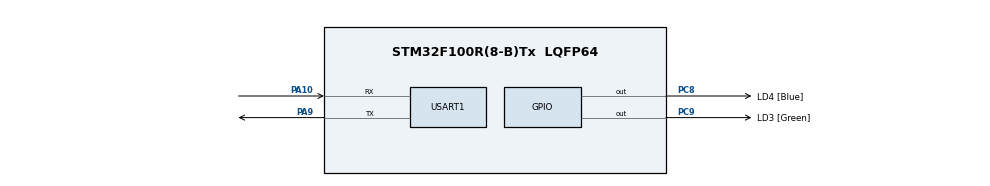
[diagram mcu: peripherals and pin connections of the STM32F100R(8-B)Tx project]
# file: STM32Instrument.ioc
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Mcu.Family=STM32F1
Mcu.Name=STM32F100R(8-B)Tx
Mcu.Package=LQFP64
NVIC.PriorityGroup=NVIC_PRIORITYGROUP_4
PA0-WKUP.Mode=SYS_WakeUp0
PA0-WKUP.Signal=SYS_WKUP
PA10.Mode=Asynchronous
PA10.Signal=USART1_RX
PA13.GPIO_Label=TMS_SWDIO
PA13.Mode=Serial_Wire
PA13.Signal=SYS_JTMS-SWDIO
PA14.GPIO_Label=TCK_SWCLK
PA14.Mode=Serial_Wire
PA14.Signal=SYS_JTCK-SWCLK
PA9.Mode=Asynchronous
PA9.Signal=USART1_TX
PC14-OSC32_IN.Mode=LSE-External-Oscillator
PC14-OSC32_IN.Signal=RCC_OSC32_IN
PC15-OSC32_OUT.Mode=LSE-External-Oscillator
PC15-OSC32_OUT.Signal=RCC_OSC32_OUT
PC8.GPIO_Label=LD4 [Blue]
PC8.Signal=GPIO_Output
PC9.GPIO_Label=LD3 [Green]
PC9.Signal=GPIO_Output
PD0-OSC_IN.Mode=HSE-External-Oscillator
PD0-OSC_IN.Signal=RCC_OSC_IN
PD1-OSC_OUT.Mode=HSE-External-Oscillator
PD1-OSC_OUT.Signal=RCC_OSC_OUT
ProjectManager.HeapSize=0x200
ProjectManager.StackSize=0x400
ProjectManager.TargetToolchain=CMake
RCC.APB1Freq_Value=8000000
RCC.APB2Freq_Value=8000000
USART1.VirtualMode=VM_ASYNC
board=STM32VLDISCOVERY

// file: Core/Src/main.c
/* USER CODE BEGIN Header */
/**
  ******************************************************************************
  * @file           : main.c
  * @brief          : Main program body
  ******************************************************************************
  * @attention
  *
  * Copyright (c) 2025 STMicroelectronics.
  * All rights reserved.
  *
  * This software is licensed under terms that can be found in the LICENSE file
  * in the root directory of this software component.
  * If no LICENSE file comes with this software, it is provided AS-IS.
  *
  ******************************************************************************
  */
/* USER CODE END Header */
#include "main.h"

/* USER CODE BEGIN Includes */
#include <stdint.h>
#include <stdbool.h>
#include <string.h>
#include "instrument_protocol_reader.h"
#include "instrument_protocol_builder.h"
#include "cff.h"
/* USER CODE END Includes */

/* USER CODE BEGIN PD */
#define DEVICE_ID "STM32Instrument_001"
#define MAX_SAMPLES 100
#define BUFFER_SIZE 256

// Custom allocator memory pool sizes - reduced for STM32F100 (8KB RAM)
#define VTABLE_POOL_SIZE 256
#define DATA_POOL_SIZE 1024
#define BUILDER_POOL_SIZE 128
#define HASH_POOL_SIZE 256
#define FRAME_POOL_SIZE 128
#define USER_POOL_SIZE 256
#define PATCH_POOL_SIZE 128
#define VECTOR_POOL_SIZE 256
/* USER CODE END PD */

UART_HandleTypeDef huart1;

/* USER CODE BEGIN PV */
uint8_t tx_buffer[BUFFER_SIZE];
uint8_t rx_buffer[BUFFER_SIZE];
uint16_t rx_index = 0;

// Custom Memory Allocator - Static Memory Pools
static uint8_t vtable_pool[VTABLE_POOL_SIZE];
static uint8_t data_pool[DATA_POOL_SIZE];
static uint8_t builder_pool[BUILDER_POOL_SIZE];
static uint8_t hash_pool[HASH_POOL_SIZE];
static uint8_t frame_pool[FRAME_POOL_SIZE];
static uint8_t user_pool[USER_POOL_SIZE];
static uint8_t patch_pool[PATCH_POOL_SIZE];
static uint8_t vector_pool[VECTOR_POOL_SIZE];

// Pool management structure
typedef struct {
    uint8_t *pool;
    size_t size;
    size_t used;
    const char *name;
} memory_pool_t;

static memory_pool_t pools[] = {
    [flatcc_builder_alloc_vs] = {vtable_pool, VTABLE_POOL_SIZE, 0, "vtable_stack"},
    [flatcc_builder_alloc_ds] = {data_pool, DATA_POOL_SIZE, 0, "data_stack"},
    [flatcc_builder_alloc_vb] = {builder_pool, BUILDER_POOL_SIZE, 0, "vtable_buffer"},
    [flatcc_builder_alloc_pl] = {patch_pool, PATCH_POOL_SIZE, 0, "patch_log"},
    [flatcc_builder_alloc_fs] = {frame_pool, FRAME_POOL_SIZE, 0, "frame_stack"},
    [flatcc_builder_alloc_ht] = {hash_pool, HASH_POOL_SIZE, 0, "hash_table"},
    [flatcc_builder_alloc_vd] = {vector_pool, VECTOR_POOL_SIZE, 0, "vtable_desc"},
    [flatcc_builder_alloc_us] = {user_pool, USER_POOL_SIZE, 0, "user_stack"}
};

// Custom Emitter - Simple Linear Buffer
typedef struct {
    uint8_t *buffer;
    size_t capacity;
    size_t front_pos;  // Position for negative offsets (grows backwards)
    size_t back_pos;   // Position for positive offsets (grows forwards)
    size_t total_used;
} custom_emitter_t;

static custom_emitter_t custom_emit_context;

// Instrument state
typedef struct {
    uint32_t measurements_per_second;
    uint32_t samples_per_measurement;
    bool configured;
    bool running;
    uint32_t sequence_number;
    flatcc_builder_t builder;
    uint32_t last_measurement_time;
    uint32_t measurement_interval_ms;
    cff_frame_builder_t cff_builder;
    uint8_t cff_frame_buffer[BUFFER_SIZE];
    cff_ring_buffer_t cff_ring_buffer;
    uint8_t cff_receive_buffer[BUFFER_SIZE * 2]; // Larger buffer for partial frames
} InstrumentState;

InstrumentState instrument_state = {0};
/* USER CODE END PV */

void SystemClock_Config(void);
static void MX_GPIO_Init(void);
static void MX_USART1_UART_Init(void);
/* USER CODE BEGIN PFP */
extern void initialise_monitor_handles(void);
int custom_allocator(void *alloc_context, flatcc_iovec_t *b, size_t request, int zero_fill, int alloc_type);
int custom_emitter(void *emit_context, const flatcc_iovec_t *iov, int iov_count, flatbuffers_soffset_t offset, size_t len);
void custom_emitter_init(custom_emitter_t *emitter, uint8_t *buffer, size_t capacity);
void custom_emitter_reset(custom_emitter_t *emitter);
void *custom_emitter_get_buffer(custom_emitter_t *emitter, size_t *size_out);
void print_memory_usage(void);
/* USER CODE END PFP */

/* USER CODE BEGIN 0 */

// Custom Memory Allocator Implementation
int custom_allocator(void *alloc_context, flatcc_iovec_t *b, size_t request, int zero_fill, int alloc_type) {
    (void)alloc_context; // Unused

    if (alloc_type >= FLATCC_BUILDER_ALLOC_BUFFER_COUNT) {
        printf("Error: Invalid alloc_type: %d\r\n", alloc_type);
        return -1;
    }

    memory_pool_t *pool = &pools[alloc_type];

    // Deallocate request
    if (request == 0) {
        if (b->iov_base) {
            pool->used = 0;
            b->iov_base = 0;
            b->iov_len = 0;
        }
        return 0;
    }

    // Ensure proper alignment (align to 8 bytes for safety)
    size_t aligned_request = (request + 7) & ~7;

    // Check if current allocation is sufficient
    if (b->iov_base && b->iov_len >= request) {
        // Current allocation is sufficient
        if (zero_fill && b->iov_len > request) {
            memset((uint8_t*)b->iov_base + request, 0, b->iov_len - request);
        }
        return 0;
    }

    // Need new allocation
    if (aligned_request > pool->size) {
        printf("Error: %s pool too small: need %u, have %u\r\n",
               pool->name, aligned_request, pool->size);
        return -1;
    }

    // Simple allocation strategy: reset pool and allocate from start
    pool->used = aligned_request;
    b->iov_base = pool->pool;
    b->iov_len = aligned_request;

    if (zero_fill) {
        memset(b->iov_base, 0, b->iov_len);
    }

    return 0;
}

// Custom Emitter Implementation
void custom_emitter_init(custom_emitter_t *emitter, uint8_t *buffer, size_t capacity) {
    emitter->buffer = buffer;
    emitter->capacity = capacity;
    emitter->front_pos = capacity / 2;  // Start in middle for bidirectional growth
    emitter->back_pos = capacity / 2;
    emitter->total_used = 0;
}

void custom_emitter_reset(custom_emitter_t *emitter) {
    emitter->front_pos = emitter->capacity / 2;
    emitter->back_pos = emitter->capacity / 2;
    emitter->total_used = 0;
}

void *custom_emitter_get_buffer(custom_emitter_t *emitter, size_t *size_out) {
    if (emitter->total_used == 0) {
        if (size_out) *size_out = 0;
        return NULL;
    }

    size_t buffer_size = emitter->back_pos - emitter->front_pos;
    if (size_out) {
        *size_out = buffer_size;
    }

    return emitter->buffer + emitter->front_pos;
}

int custom_emitter(void *emit_context, const flatcc_iovec_t *iov, int iov_count,
                   flatbuffers_soffset_t offset, size_t len) {
    custom_emitter_t *emitter = (custom_emitter_t*)emit_context;

    emitter->total_used += len;

    if (offset < 0) {
        // Negative offset: write towards front (backwards)
        if (emitter->front_pos < len) {
            printf("Error: Custom emitter front overflow\r\n");
            return -1;
        }

        emitter->front_pos -= len;
        uint8_t *write_pos = emitter->buffer + emitter->front_pos + len; // Start at end of allocated space

        // Copy data from iov vectors in reverse order, copying each vector's data backwards
        for (int i = iov_count - 1; i >= 0; i--) {
            write_pos -= iov[i].iov_len;
            memcpy(write_pos, iov[i].iov_base, iov[i].iov_len);
        }
    } else {
        // Positive offset: write towards back (forwards)
        if (emitter->back_pos + len > emitter->capacity) {
            printf("Error: Custom emitter back overflow\r\n");
            return -1;
        }

        uint8_t *write_pos = emitter->buffer + emitter->back_pos;

        // Copy data from iov vectors
        for (int i = 0; i < iov_count; i++) {
            memcpy(write_pos, iov[i].iov_base, iov[i].iov_len);
            write_pos += iov[i].iov_len;
        }

        emitter->back_pos += len;
    }

    return 0;
}

// Generate simulated measurement data
void generate_measurement_data(float* data, uint32_t sample_count) {
    static float counter = 0.0f; // Persistent counter across function calls

    for (uint32_t i = 0; i < sample_count; i++) {
        counter += 0.1f;
        data[i] = counter;
    }
}

// Get current timestamp in milliseconds (STM32 version)
uint64_t get_timestamp_ms() {
    return HAL_GetTick();
}

// Send a frame through UART
bool send_frame(void* buffer, size_t size) {
    HAL_StatusTypeDef status = HAL_UART_Transmit(&huart1, (uint8_t*)buffer, (uint16_t)size, 1000);
    if (status != HAL_OK) {
        printf("UART transmission failed\r\n");
        return false;
    }

    return true;
}

// Create and send a measurement message
bool send_measurement(InstrumentState* state) {
    // Generate measurement data
    float data[MAX_SAMPLES];
    uint32_t sample_count = state->samples_per_measurement;
    if (sample_count > MAX_SAMPLES) sample_count = MAX_SAMPLES;

    generate_measurement_data(data, sample_count);

    // Reset builder and custom emitter
    flatcc_builder_reset(&state->builder);
    custom_emitter_reset(&custom_emit_context);

    // Create data vector
    flatbuffers_float_vec_ref_t data_vec = flatbuffers_float_vec_create(&state->builder, data, sample_count);

    // Create measurement
    InstrumentProtocol_Measurement_ref_t measurement = InstrumentProtocol_Measurement_create(
        &state->builder,
        data_vec
    );

    // Create message type union
    InstrumentProtocol_MessageType_union_ref_t message_type = InstrumentProtocol_MessageType_as_Measurement(measurement);

    // Create message
    InstrumentProtocol_Message_create_as_root(
        &state->builder,
        message_type
    );

    // Get the buffer from custom emitter
    void* buffer;
    size_t payload_size;
    buffer = custom_emitter_get_buffer(&custom_emit_context, &payload_size);
    if (!buffer || payload_size == 0) {
        printf("Failed to get buffer from custom emitter\r\n");
        return false;
    }

    // Build frame
    cff_error_en_t cff_result = cff_build_frame(&state->cff_builder,
        (const uint8_t*)buffer, payload_size);

    if (cff_result != cff_error_none) {
        printf("Failed to build frame: %d\r\n", cff_result);
        return false;
    }

    // Calculate the frame size and send
    size_t frame_size = cff_calculate_frame_size_bytes(payload_size);
    bool result = send_frame(state->cff_frame_buffer, frame_size);
    static bool first_time = true;
    if (result && first_time) {
        first_time = false;
        print_memory_usage();
    }

    return result;
}

// Callback function for processing frames
void process_frame(const cff_frame_t* frame) {
    // Parse the FlatBuffer message from the frame payload
    InstrumentProtocol_Message_table_t message = InstrumentProtocol_Message_as_root(frame->payload);
    if (!message) {
        printf("Error: Failed to parse frame\r\n");
        return;
    }

    // Get message type
    InstrumentProtocol_MessageType_union_type_t msg_type = InstrumentProtocol_Message_message_type_type(message);

    // Process based on message type
    switch (msg_type) {
        case InstrumentProtocol_MessageType_Configuration: {
            InstrumentProtocol_Configuration_table_t config =
                (InstrumentProtocol_Configuration_table_t)InstrumentProtocol_Message_message_type(message);
            process_configuration(&instrument_state, config);
            break;
        }

        case InstrumentProtocol_MessageType_Command: {
            InstrumentProtocol_Command_table_t command =
                (InstrumentProtocol_Command_table_t)InstrumentProtocol_Message_message_type(message);
            process_command(&instrument_state, command);
            break;
        }

        case InstrumentProtocol_MessageType_Measurement:
            printf("Received measurement message (unexpected)\r\n");
            break;

        default:
            printf("Unknown message type: %d\r\n", msg_type);
            break;
    }
}

// Process configuration messages
void process_configuration(InstrumentState* state, InstrumentProtocol_Configuration_table_t config) {
    printf("Processing configuration...\r\n");

    state->measurements_per_second = InstrumentProtocol_Configuration_measurements_per_second(config);
    state->samples_per_measurement = InstrumentProtocol_Configuration_samples_per_measurement(config);

    // Validate configuration
    if (state->measurements_per_second == 0 || state->measurements_per_second > 1000) {
        printf("Invalid measurement rate: %lu (must be 1-1000)\r\n", state->measurements_per_second);
        return;
    }

    if (state->samples_per_measurement == 0 || state->samples_per_measurement > MAX_SAMPLES) {
        printf("Invalid sample count: %lu (must be 1-%d)\r\n", state->samples_per_measurement, MAX_SAMPLES);
        return;
    }

    state->configured = true;
    state->measurement_interval_ms = 1000 / state->measurements_per_second;

    printf("Configuration applied: %lu measurements/sec, %lu samples/measurement\r\n",
           state->measurements_per_second, state->samples_per_measurement);
}

// Process command messages
void process_command(InstrumentState* state, InstrumentProtocol_Command_table_t command) {
    InstrumentProtocol_CommandCode_enum_t command_type = InstrumentProtocol_Command_code(command);

    switch (command_type) {
        case InstrumentProtocol_CommandCode_Start:
            printf("Processing Start command\r\n");
            if (!state->configured) {
                printf("Error: Cannot start - instrument not configured\r\n");
                return;
            }
            state->running = true;
            state->last_measurement_time = get_timestamp_ms();
            printf("Instrument started\r\n");
            break;

        case InstrumentProtocol_CommandCode_Stop:
            printf("Processing Stop command\r\n");
            state->running = false;
            printf("Instrument stopped\r\n");
            break;

        default:
            printf("Unknown command type: %d\r\n", command_type);
            break;
    }
}

// Check if it's time to send a measurement
void check_measurement_timing(InstrumentState* state) {
    if (!state->running) {
        return;
    }

    uint64_t current_time = get_timestamp_ms();
    if (current_time - state->last_measurement_time >= state->measurement_interval_ms) {
        if (send_measurement(state)) {
            state->last_measurement_time = current_time;
        } else {
            printf("Failed to send measurement\r\n");
        }
    }
}

// Process received data buffer containing frames
void process_received_data(void* buffer, size_t size) {
    printf("Received %zu bytes\r\n", size);

    // Append new data to ring buffer
    cff_error_en_t result = cff_ring_buffer_append(&instrument_state.cff_ring_buffer, (const uint8_t*)buffer, (uint32_t)size);
    if (result != cff_error_none) {
        printf("Warning: Failed to append to ring buffer: %d\r\n", result);
        return;
    }

    // Parse all complete frames
    size_t frames_parsed = cff_parse_frames(&instrument_state.cff_ring_buffer, process_frame);

    if (frames_parsed > 0) {
        printf("Parsed %zu frames\r\n", frames_parsed);
    }
}

// Print memory usage statistics
void print_memory_usage(void) {
    size_t total_allocated = 0;
    printf("Memory pool usage:\r\n");
    for (int i = 0; i < FLATCC_BUILDER_ALLOC_BUFFER_COUNT; i++) {
        if (pools[i].used > 0) {
            printf("  %s: %u/%u bytes\r\n",
                   pools[i].name,
                   pools[i].used,
                   pools[i].size);
        }
        total_allocated += pools[i].used;
    }
    printf("Total pool usage: %u bytes\r\n", total_allocated);
}

/* USER CODE END 0 */

int main(void)
{

  /* MCU Configuration--------------------------------------------------------*/

  /* Reset of all peripherals, Initializes the Flash interface and the Systick. */
  HAL_Init();

  /* Configure the system clock */
  SystemClock_Config();

  /* Initialize all configured peripherals */
  MX_GPIO_Init();
  MX_USART1_UART_Init();
  /* USER CODE BEGIN 2 */
  initialise_monitor_handles();

  // Initialize custom emitter with TX buffer
  custom_emitter_init(&custom_emit_context, tx_buffer, BUFFER_SIZE);

  // Initialize FlatBuffers builder with custom allocator and emitter
  int init_result = flatcc_builder_custom_init(&instrument_state.builder,
                                              custom_emitter, &custom_emit_context,
                                              custom_allocator, NULL);
  if (init_result != 0) {
    printf("Error: Failed to initialize FlatBuffers builder: %d\r\n", init_result);
    Error_Handler();
  }

  // Initialize CFF frame builder
  cff_error_en_t cff_result = cff_frame_builder_init(&instrument_state.cff_builder,
      instrument_state.cff_frame_buffer, sizeof(instrument_state.cff_frame_buffer));
  if (cff_result != cff_error_none) {
    printf("Error: Failed to initialize CFF frame builder: %d\r\n", cff_result);
    Error_Handler();
  }

  // Initialize CFF ring buffer
  cff_result = cff_ring_buffer_init(&instrument_state.cff_ring_buffer,
      instrument_state.cff_receive_buffer, sizeof(instrument_state.cff_receive_buffer));
  if (cff_result != cff_error_none) {
    printf("Error: Failed to initialize CFF ring buffer: %d\r\n", cff_result);
    Error_Handler();
  }

  printf("STM32 Instrument v1.0\r\n");
  printf("Device ID: %s\r\n", DEVICE_ID);
  printf("Memory pools initialized:\r\n");
  printf("  - VTable Stack: %d bytes\r\n", VTABLE_POOL_SIZE);
  printf("  - Data Stack: %d bytes\r\n", DATA_POOL_SIZE);
  printf("  - Builder Pool: %d bytes\r\n", BUILDER_POOL_SIZE);
  printf("  - Hash Table: %d bytes\r\n", HASH_POOL_SIZE);
  printf("Ready to receive messages...\r\n");
  printf("Send a Configuration message followed by a Start command to begin measurements.\r\n");
  /* USER CODE END 2 */

  /* Infinite loop */
  while (1)
  {

    /* USER CODE BEGIN 3 */
    // Check if it's time to send a measurement
    check_measurement_timing(&instrument_state);

    // Process incoming UART data
    uint8_t byte;
    if (HAL_UART_Receive(&huart1, &byte, 1, 1) == HAL_OK) {
      // Check for buffer overflow
      if (rx_index >= BUFFER_SIZE) {
        printf("Error: RX buffer overflow, resetting\r\n");
        rx_index = 0;
        continue;
      }

      rx_buffer[rx_index++] = byte;
      process_received_data(rx_buffer + rx_index - 1, 1);
    }
  }
  /* USER CODE END 3 */
}

void SystemClock_Config(void)
{
  RCC_OscInitTypeDef RCC_OscInitStruct = {0};
  RCC_ClkInitTypeDef RCC_ClkInitStruct = {0};

  /** Initializes the RCC Oscillators according to the specified parameters
  * in the RCC_OscInitTypeDef structure.
  */
  RCC_OscInitStruct.OscillatorType = RCC_OSCILLATORTYPE_HSI;
  RCC_OscInitStruct.HSIState = RCC_HSI_ON;
  RCC_OscInitStruct.HSICalibrationValue = RCC_HSICALIBRATION_DEFAULT;
  RCC_OscInitStruct.PLL.PLLState = RCC_PLL_NONE;
  if (HAL_RCC_OscConfig(&RCC_OscInitStruct) != HAL_OK)
  {
    Error_Handler();
  }

  /** Initializes the CPU, AHB and APB buses clocks
  */
  RCC_ClkInitStruct.ClockType = RCC_CLOCKTYPE_HCLK|RCC_CLOCKTYPE_SYSCLK
                              |RCC_CLOCKTYPE_PCLK1|RCC_CLOCKTYPE_PCLK2;
  RCC_ClkInitStruct.SYSCLKSource = RCC_SYSCLKSOURCE_HSI;
  RCC_ClkInitStruct.AHBCLKDivider = RCC_SYSCLK_DIV1;
  RCC_ClkInitStruct.APB1CLKDivider = RCC_HCLK_DIV1;
  RCC_ClkInitStruct.APB2CLKDivider = RCC_HCLK_DIV1;

  if (HAL_RCC_ClockConfig(&RCC_ClkInitStruct, FLASH_LATENCY_0) != HAL_OK)
  {
    Error_Handler();
  }
}

static void MX_USART1_UART_Init(void)
{

  huart1.Instance = USART1;
  huart1.Init.BaudRate = 115200;
  huart1.Init.WordLength = UART_WORDLENGTH_8B;
  huart1.Init.StopBits = UART_STOPBITS_1;
  huart1.Init.Parity = UART_PARITY_NONE;
  huart1.Init.Mode = UART_MODE_TX_RX;
  huart1.Init.HwFlowCtl = UART_HWCONTROL_NONE;
  huart1.Init.OverSampling = UART_OVERSAMPLING_16;
  if (HAL_UART_Init(&huart1) != HAL_OK)
  {
    Error_Handler();
  }

}

static void MX_GPIO_Init(void)
{
  GPIO_InitTypeDef GPIO_InitStruct = {0};

  /* GPIO Ports Clock Enable */
  __HAL_RCC_GPIOC_CLK_ENABLE();
  __HAL_RCC_GPIOD_CLK_ENABLE();
  __HAL_RCC_GPIOA_CLK_ENABLE();

  /*Configure GPIO pin Output Level */
  HAL_GPIO_WritePin(GPIOC, LD4_Pin|LD3_Pin, GPIO_PIN_RESET);

  /*Configure GPIO pins : LD4_Pin LD3_Pin */
  GPIO_InitStruct.Pin = LD4_Pin|LD3_Pin;
  GPIO_InitStruct.Mode = GPIO_MODE_OUTPUT_PP;
  GPIO_InitStruct.Pull = GPIO_NOPULL;
  GPIO_InitStruct.Speed = GPIO_SPEED_FREQ_LOW;
  HAL_GPIO_Init(GPIOC, &GPIO_InitStruct);

}

/* USER CODE BEGIN 4 */

// Cleanup function for proper shutdown (though this may never be called in embedded systems)
void instrument_cleanup(void) {
    printf("Shutting down instrument...\r\n");
    instrument_state.running = false;
    flatcc_builder_clear(&instrument_state.builder);
}

/* USER CODE END 4 */

void Error_Handler(void)
{
  /* USER CODE BEGIN Error_Handler_Debug */
  return;
  /* User can add his own implementation to report the HAL error return state */
  __disable_irq();
  while (1)
  {
  }
  /* USER CODE END Error_Handler_Debug */
}
